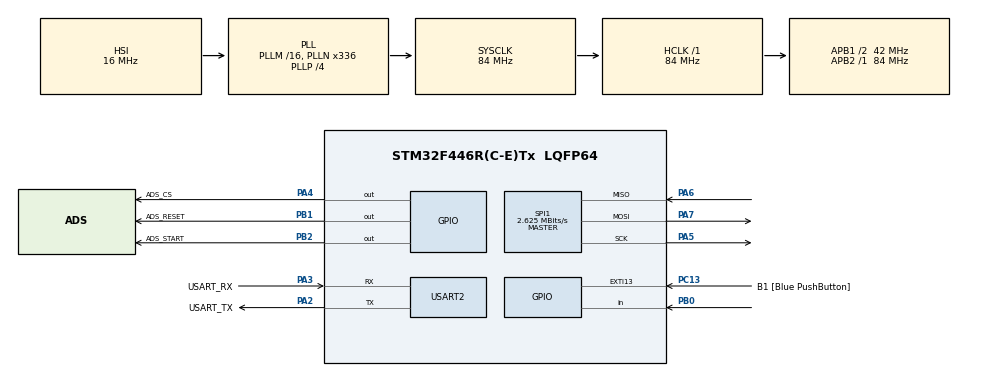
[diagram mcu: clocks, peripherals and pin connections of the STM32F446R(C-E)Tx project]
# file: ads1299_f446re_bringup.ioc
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Dma.Request0=SPI1_RX
Dma.Request1=SPI1_TX
Dma.SPI1_RX.0.Direction=DMA_PERIPH_TO_MEMORY
Dma.SPI1_RX.0.FIFOMode=DMA_FIFOMODE_DISABLE
Dma.SPI1_RX.0.Instance=DMA2_Stream0
Dma.SPI1_RX.0.MemDataAlignment=DMA_MDATAALIGN_BYTE
Dma.SPI1_RX.0.MemInc=DMA_MINC_ENABLE
Dma.SPI1_RX.0.Mode=DMA_NORMAL
Dma.SPI1_RX.0.PeriphDataAlignment=DMA_PDATAALIGN_BYTE
Dma.SPI1_RX.0.PeriphInc=DMA_PINC_DISABLE
Dma.SPI1_RX.0.Priority=DMA_PRIORITY_LOW
Dma.SPI1_TX.1.Direction=DMA_MEMORY_TO_PERIPH
Dma.SPI1_TX.1.FIFOMode=DMA_FIFOMODE_DISABLE
Dma.SPI1_TX.1.Instance=DMA2_Stream3
Dma.SPI1_TX.1.MemDataAlignment=DMA_MDATAALIGN_BYTE
Dma.SPI1_TX.1.MemInc=DMA_MINC_ENABLE
Dma.SPI1_TX.1.Mode=DMA_NORMAL
Dma.SPI1_TX.1.PeriphDataAlignment=DMA_PDATAALIGN_BYTE
Dma.SPI1_TX.1.PeriphInc=DMA_PINC_DISABLE
Dma.SPI1_TX.1.Priority=DMA_PRIORITY_LOW
Mcu.Family=STM32F4
Mcu.Name=STM32F446R(C-E)Tx
Mcu.Package=LQFP64
NVIC.DMA2_Stream0_IRQn=true\:0\:0\:false\:false\:true\:false\:true\:true
NVIC.DMA2_Stream3_IRQn=true\:0\:0\:false\:false\:true\:false\:true\:true
NVIC.PriorityGroup=NVIC_PRIORITYGROUP_0
NVIC.SPI1_IRQn=true\:0\:0\:false\:false\:true\:true\:true\:true
PA13.GPIO_Label=TMS
PA13.Mode=Serial_Wire
PA13.Signal=SYS_JTMS-SWDIO
PA14.GPIO_Label=TCK
PA14.Mode=Serial_Wire
PA14.Signal=SYS_JTCK-SWCLK
PA2.GPIO_Label=USART_TX
PA2.Mode=Asynchronous
PA2.Signal=USART2_TX
PA3.GPIO_Label=USART_RX
PA3.Mode=Asynchronous
PA3.Signal=USART2_RX
PA4.GPIO_Label=ADS_CS
PA4.PinState=GPIO_PIN_SET
PA4.Signal=GPIO_Output
PA5.Mode=Full_Duplex_Master
PA5.Signal=SPI1_SCK
PA6.Mode=Full_Duplex_Master
PA6.Signal=SPI1_MISO
PA7.Mode=Full_Duplex_Master
PA7.Signal=SPI1_MOSI
PB0.Signal=GPIO_Input
PB1.GPIO_Label=ADS_RESET
PB1.Signal=GPIO_Output
PB2.GPIO_Label=ADS_START
PB2.Signal=GPIO_Output
PB3.GPIO_Label=SWO
PB3.Signal=SYS_JTDO-SWO
PC13.GPIO_Label=B1 [Blue PushButton]
PC13.GPIO_ModeDefaultEXTI=GPIO_MODE_IT_FALLING
PC13.Signal=GPXTI13
PC14-OSC32_IN.Mode=LSE-External-Oscillator
PC14-OSC32_IN.Signal=RCC_OSC32_IN
PC15-OSC32_OUT.Mode=LSE-External-Oscillator
PC15-OSC32_OUT.Signal=RCC_OSC32_OUT
PH0-OSC_IN.Mode=HSE-External-Oscillator
PH0-OSC_IN.Signal=RCC_OSC_IN
PH1-OSC_OUT.Mode=HSE-External-Oscillator
PH1-OSC_OUT.Signal=RCC_OSC_OUT
ProjectManager.HeapSize=0x200
ProjectManager.StackSize=0x400
ProjectManager.TargetToolchain=STM32CubeIDE
RCC.48MHZClocksFreq_Value=84000000
RCC.AHBFreq_Value=84000000
RCC.APB1CLKDivider=RCC_HCLK_DIV2
RCC.APB1Freq_Value=42000000
RCC.APB1TimFreq_Value=84000000
RCC.APB2Freq_Value=84000000
RCC.APB2TimFreq_Value=84000000
RCC.CortexFreq_Value=84000000
RCC.FLatency-AdvancedSettings=FLASH_LATENCY_2
RCC.HCLKFreq_Value=84000000
RCC.HSE_VALUE=8000000
RCC.HSI_VALUE=16000000
RCC.PLLN=336
RCC.PLLP=RCC_PLLP_DIV4
RCC.SYSCLKFreq_VALUE=84000000
RCC.SYSCLKSource=RCC_SYSCLKSOURCE_PLLCLK
RCC.USBFreq_Value=168000000
RCC.VCOOutputFreq_Value=336000000
SPI1.BaudRatePrescaler=SPI_BAUDRATEPRESCALER_32
SPI1.CLKPhase=SPI_PHASE_2EDGE
SPI1.CalculateBaudRate=2.625 MBits/s
SPI1.Direction=SPI_DIRECTION_2LINES
SPI1.Mode=SPI_MODE_MASTER
SPI1.VirtualType=VM_MASTER
USART2.VirtualMode=VM_ASYNC
board=NUCLEO-F446RE

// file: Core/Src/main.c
/* USER CODE BEGIN Header */
/**
  ******************************************************************************
  * @file           : main.c
  * @brief          : Main program body
  ******************************************************************************
  * @attention
  *
  * Copyright (c) 2025 STMicroelectronics.
  * All rights reserved.
  *
  * This software is licensed under terms that can be found in the LICENSE file
  * in the root directory of this software component.
  * If no LICENSE file comes with this software, it is provided AS-IS.
  *
  ******************************************************************************
  */
/* USER CODE END Header */
#include "main.h"
#include "dma.h"
#include "spi.h"
#include "usart.h"
#include "gpio.h"

void SystemClock_Config(void);

/* USER CODE BEGIN 0 */

/*
  ADS1299 streaming path:
  - DRDY (PB0, falling edge) -> HAL_GPIO_EXTI_Callback
  - In EXTI: assert CS (PA4 low), start SPI1 TxRx DMA for 27 bytes
      27 = 3 status + 8 * 3-byte channels (24-bit two's complement)
  - DMA complete -> HAL_SPI_TxRxCpltCallback
      de-assert CS (PA4 high), increase counter
  - Main loop prints once per second

  Rationale:
  - EXTI aligns and reads to ADS1299's data-ready timing.
  - TxRx DMA guarantees SCK clocks.
  - Keep ISRs short; do prints/work in main loop to avoid missed frames.
*/

#include <stdio.h>
#include <string.h>
/* RX buffer holds latest ADS1299 frame; zeros generate clocks */
static uint8_t frame[27];
static uint8_t zeros27[27] = {0};               // clocks SPI, tx dummy

/* ISR-visible flags/counters must be volatile */
static volatile uint8_t spi_busy = 0; // 1 while a DMA transfer is active
static volatile uint32_t drdy_isr_count = 0; // EXTI interrupts per second (sanity)
static volatile uint32_t dma_done_count = 0; // DMA completions per second (sanity)

static inline void CS_L(void){ HAL_GPIO_WritePin(GPIOA, GPIO_PIN_4, GPIO_PIN_RESET); }
static inline void CS_H(void){ HAL_GPIO_WritePin(GPIOA, GPIO_PIN_4, GPIO_PIN_SET);  }

// ADS1299 channels are 24-bit two's complement: [MSB .. LSB] = [b23..b0].
// Sign-extend to 32-bit by propagating bit 23 (0x00800000) into the upper byte.
static inline int32_t ads_s24_to_s32(uint8_t msb, uint8_t mid, uint8_t lsb){
  int32_t v = ((int32_t)msb<<16) | ((int32_t)mid<<8) | lsb;
  if (v & 0x00800000) v |= 0xFF000000;
  return v;
}

/* USER CODE END 0 */

int main(void)
{

  /* MCU Configuration--------------------------------------------------------*/

  /* Reset of all peripherals, Initializes the Flash interface and the Systick. */
  HAL_Init();

  /* Configure the system clock */
  SystemClock_Config();

  /* Initialize all configured peripherals */
  MX_GPIO_Init(); //init GPIOs first for no conflict
  MX_DMA_Init();
  MX_SPI1_Init(); //moved SPI init before USART2 to solve DMA issue
  MX_USART2_UART_Init();

  /* USER CODE BEGIN 2 */

  // Known idle
  CS_H();
  HAL_GPIO_WritePin(GPIOB, GPIO_PIN_2, GPIO_PIN_RESET); // START low, no conversion yet

  // Reset pulse  (PB1), keep HIGH during normal operation, active LOW, pulse when ready
  HAL_GPIO_WritePin(GPIOB, GPIO_PIN_1, GPIO_PIN_RESET); HAL_Delay(1);
  HAL_GPIO_WritePin(GPIOB, GPIO_PIN_1, GPIO_PIN_SET);   HAL_Delay(10);

  // Put ADS1299 into RDATAC (continuous read) mode: send 0x10 with CS low.
  CS_L(); HAL_SPI_Transmit(&hspi1,(uint8_t[]){0x10},1,10); CS_H(); HAL_Delay(1);

  // START (PB2) HIGH, begin conversions
  HAL_GPIO_WritePin(GPIOB, GPIO_PIN_2, GPIO_PIN_SET);

  HAL_UART_Transmit(&huart2,(uint8_t*)"EXTI+DMA ready\r\n",16,100);

  // Boot message (confirms we reached here)
   const char *hello = "ADS1299 ready: DRDY->EXTI, SPI1 TxRx DMA, 1Hz prints\r\n";
   HAL_UART_Transmit(&huart2, (uint8_t*)hello, strlen(hello), 100);

  /* USER CODE END 2 */

  /* Infinite loop */

   /* =========================
      Main loop: no polling for DRDY here.
      ISRs (EXTI/DMA) move data; we just summarize once per second.
      ========================= */

  /* USER CODE BEGIN WHILE */
  uint32_t last_ms = 0;
  while (1)
  {
    uint32_t now = HAL_GetTick();
    if (now - last_ms >= 1000) {
      last_ms = now;

      // Parse latest frame into signed 32-bit samples
      int32_t ch[8];
      for (int i=0; i<8; i++){
        int k = 3 + i*3;
        ch[i] = s24_to_s32(frame[k], frame[k+1], frame[k+2]);
      }
      // Print structured, CSV-like one-line summary: easy to log/plot.
      char buf[256];
      int n = snprintf(buf, sizeof(buf),
        "DRDY/s=%lu DMA/s=%lu  S:%02X %02X %02X  "
        "Ch1:%ld Ch2:%ld Ch3:%ld Ch4:%ld Ch5:%ld Ch6:%ld Ch7:%ld Ch8:%ld\r\n",
        (unsigned long)drdy_isr_count, (unsigned long)dma_done_count,
        frame[0], frame[1], frame[2],
        (long)ch[0], (long)ch[1], (long)ch[2], (long)ch[3],
        (long)ch[4], (long)ch[5], (long)ch[6], (long)ch[7]);
      HAL_UART_Transmit(&huart2,(uint8_t*)buf, n, 200);

      // Reset 1-second counters
      drdy_isr_count = 0;
      dma_done_count = 0;
    }
  }

  /* USER CODE END WHILE */

  }

void SystemClock_Config(void)
{
  RCC_OscInitTypeDef RCC_OscInitStruct = {0};
  RCC_ClkInitTypeDef RCC_ClkInitStruct = {0};

  /** Configure the main internal regulator output voltage
  */
  __HAL_RCC_PWR_CLK_ENABLE();
  __HAL_PWR_VOLTAGESCALING_CONFIG(PWR_REGULATOR_VOLTAGE_SCALE3);

  /** Initializes the RCC Oscillators according to the specified parameters
  * in the RCC_OscInitTypeDef structure.
  */
  RCC_OscInitStruct.OscillatorType = RCC_OSCILLATORTYPE_HSI;
  RCC_OscInitStruct.HSIState = RCC_HSI_ON;
  RCC_OscInitStruct.HSICalibrationValue = RCC_HSICALIBRATION_DEFAULT;
  RCC_OscInitStruct.PLL.PLLState = RCC_PLL_ON;
  RCC_OscInitStruct.PLL.PLLSource = RCC_PLLSOURCE_HSI;
  RCC_OscInitStruct.PLL.PLLM = 16;
  RCC_OscInitStruct.PLL.PLLN = 336;
  RCC_OscInitStruct.PLL.PLLP = RCC_PLLP_DIV4;
  RCC_OscInitStruct.PLL.PLLQ = 2;
  RCC_OscInitStruct.PLL.PLLR = 2;
  if (HAL_RCC_OscConfig(&RCC_OscInitStruct) != HAL_OK)
  {
    Error_Handler();
  }

  /** Initializes the CPU, AHB and APB buses clocks
  */
  RCC_ClkInitStruct.ClockType = RCC_CLOCKTYPE_HCLK|RCC_CLOCKTYPE_SYSCLK
                              |RCC_CLOCKTYPE_PCLK1|RCC_CLOCKTYPE_PCLK2;
  RCC_ClkInitStruct.SYSCLKSource = RCC_SYSCLKSOURCE_PLLCLK;
  RCC_ClkInitStruct.AHBCLKDivider = RCC_SYSCLK_DIV1;
  RCC_ClkInitStruct.APB1CLKDivider = RCC_HCLK_DIV2;
  RCC_ClkInitStruct.APB2CLKDivider = RCC_HCLK_DIV1;

  if (HAL_RCC_ClockConfig(&RCC_ClkInitStruct, FLASH_LATENCY_2) != HAL_OK)
  {
    Error_Handler();
  }
}

/* USER CODE BEGIN 4 */

/* USER CODE BEGIN 4 */

// DRDY falls, EXT1 callback fires
void HAL_GPIO_EXTI_Callback(uint16_t GPIO_Pin)
{
  if (GPIO_Pin == GPIO_PIN_0)  // PB0 = DRDY
  {
    drdy_isr_count++;
    if (!spi_busy) { //ensure one transfer at a time
      spi_busy = 1;
      CS_L(); //CS low for the whole frame
      // TransmitReceive DMA: send zeros to clock 27 bytes in on MISO
      HAL_SPI_TransmitReceive_DMA(&hspi1, zeros27, frame, sizeof(frame)); //use zeros27 provides 27 clock bytes so we can capture 27 return bytes into frame
    }
  }
}
// DMA finishes, SPI DMA completes callback
void HAL_SPI_TxRxCpltCallback(SPI_HandleTypeDef *hspi)
{
  if (hspi->Instance == SPI1) {
    CS_H(); // end transaction
    spi_busy = 0; // allow next EXT1 to start a DMA
    dma_done_count++; // 1 Hz check
  }
}

/* USER CODE END 4 */

/* USER CODE END 4 */

void Error_Handler(void)
{
  __disable_irq();
  while (1)
  {
  }
}
